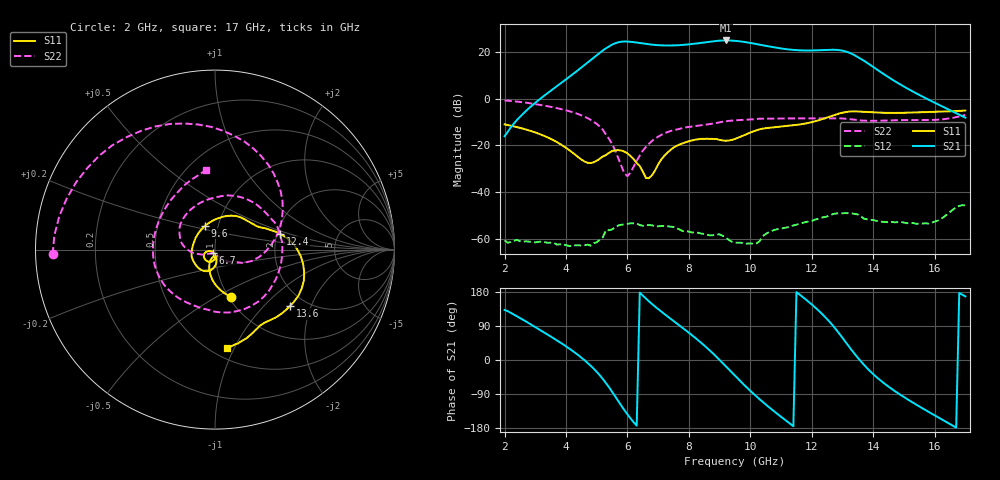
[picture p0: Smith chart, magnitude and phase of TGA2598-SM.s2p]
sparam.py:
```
from pathlib import Path, PurePath
import matplotlib
import matplotlib.pyplot as plt
import numpy as np
#from fig2pptx import fig2pptx
#import rftools
import markerplot
from markerplot import interactive_subplots
from matplotlib import ticker
from rfnetwork import Sparam

dir_ = Path(__file__).parent 



fig, (ax1) = interactive_subplots(1, 1, figsize=(10,5), constrained_layout=True)
ax1.grid(linewidth=0.5, linestyle='-')

plotted_sp = []

def drop_event_handler(text):
    p = Path(text)
    p = p.relative_to(r"file:\\")
    s = Sparam(str(p))
    
    plotted_names = [sp.name for (sp, ax, lines)  in plotted_sp]
    print(plotted_names, s.name)
    if s.name not in plotted_names:
        ax, lines = s.plot(axes=ax1, label=p.stem)
        plotted_sp.append((s, ax, lines))

format_options = {"Magnitude (dB)":'db', "Phase (deg)":'ang'}
def set_data_format(axes, value):
    for (sp, ax, lines) in plotted_sp:
        sp.plot(label=sp.name, outf=value, lines=lines)

fig.app.add_drop_event_handler(drop_event_handler)
fig.app.add_data_format_handler(set_data_format, format_options, initial='db')

s = Sparam(dir_ / 'TGA2598-SM.s2p')

ax, lines = s.plot(axes=ax1)
plotted_sp.append((s, ax, lines))
plt.show()
```
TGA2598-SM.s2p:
!File name = TGA2598-SM-SN011_25C_25V100mA.s2p
!Base file name = TGA2598-SM-SN011_25C
!Date = 5/3/2014
!Time = 12:47 PM
!Test duration(min) = 0.09
!Test = SPars
!MPTS version = 7.123
!Comments =
!set_Vg(v) = -5.000
!set_Vd(v) = 25.000
!set_vd(mA) = 100.000
!test = SPars
!date_code = 20140503
!file_name = TGA2598-SM-SN011_25C_25V100mA.s2p
!SN = 011
!Temp = 25C
!Vg(V) = -2.594
!Vg(mA) = -0.001
!Vd(V) = 25.000
!Vd(mA) = 100.223
!Temperature(V) = 0.021
# GHz  S  DB  R  50
!%	Freq(GHz)  S11(dB)  S11(deg)  S21(dB)  S21(deg)  S12(dB)  S12(deg)  S22(dB)  S22(deg)
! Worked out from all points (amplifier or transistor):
!   151 points, 2 GHz to 17 GHz, reference 50 ohm
!   highest |S21| = 24.9 dB at 9.2 GHz (marker M1)
!   |S21| within 3 dB of that: 5.343 GHz to 10.8 GHz (5.455 GHz wide, 67.6 % of centre)
!   unconditionally stable (mu >= 1): start of sweep to end of sweep
!   at 4.5 GHz: K = 123.59, MAG = 14.2 dB, |S12| = -63.0 dB
!   at 9.5 GHz: K = 30.70, MAG = 25.3 dB, |S12| = -61.7 dB
!   at 17 GHz: K = 139.07, MAG = -5.7 dB, |S12| = -45.8 dB
!   S11 on the Smith chart (normalised r, x): 2 GHz: 1.03, -0.59; 6.7 GHz: 0.98, -0.03; 9.6 GHz: 0.87, +0.24; 12.4 GHz: 2.08, +0.43; 13.6 GHz: 1.66, -1.43; 17 GHz: 0.60, -0.94
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2  -11.06 -71.2  -16.15 132.0  -60.72 98.2  -0.87 -178.3
5.7  -22.12 -131.4  24.07 -108.4  -54.38 73.2  -25.58 -57.3
6.7  -34.10 -122.4  23.20 154.7  -54.20 24.1  -19.37 -167.7
8.1  -17.93 -109.2  23.34 65.4  -57.38 -30.1  -12.00 132.0
9.2  -18.10 160.6  24.87 -16.6  -59.52 -122.6  -9.74 63.7
9.5  -17.34 123.5  24.71 -41.6  -61.72 -163.0  -9.34 47.5
9.6  -16.80 112.1  24.59 -49.8  -61.72 -179.7  -9.27 43.1
10.9  -12.11 37.7  21.64 -143.6  -55.91 38.3  -8.58 12.2
12.4  -8.56 13.6  20.79 116.2  -50.78 -53.0  -8.48 -22.0
13.6  -5.64 -36.9  16.96 -3.7  -50.52 -133.4  -9.42 -95.5
17  -5.16 -82.8  -8.21 167.8  -45.78 169.6  -7.00 96.4
